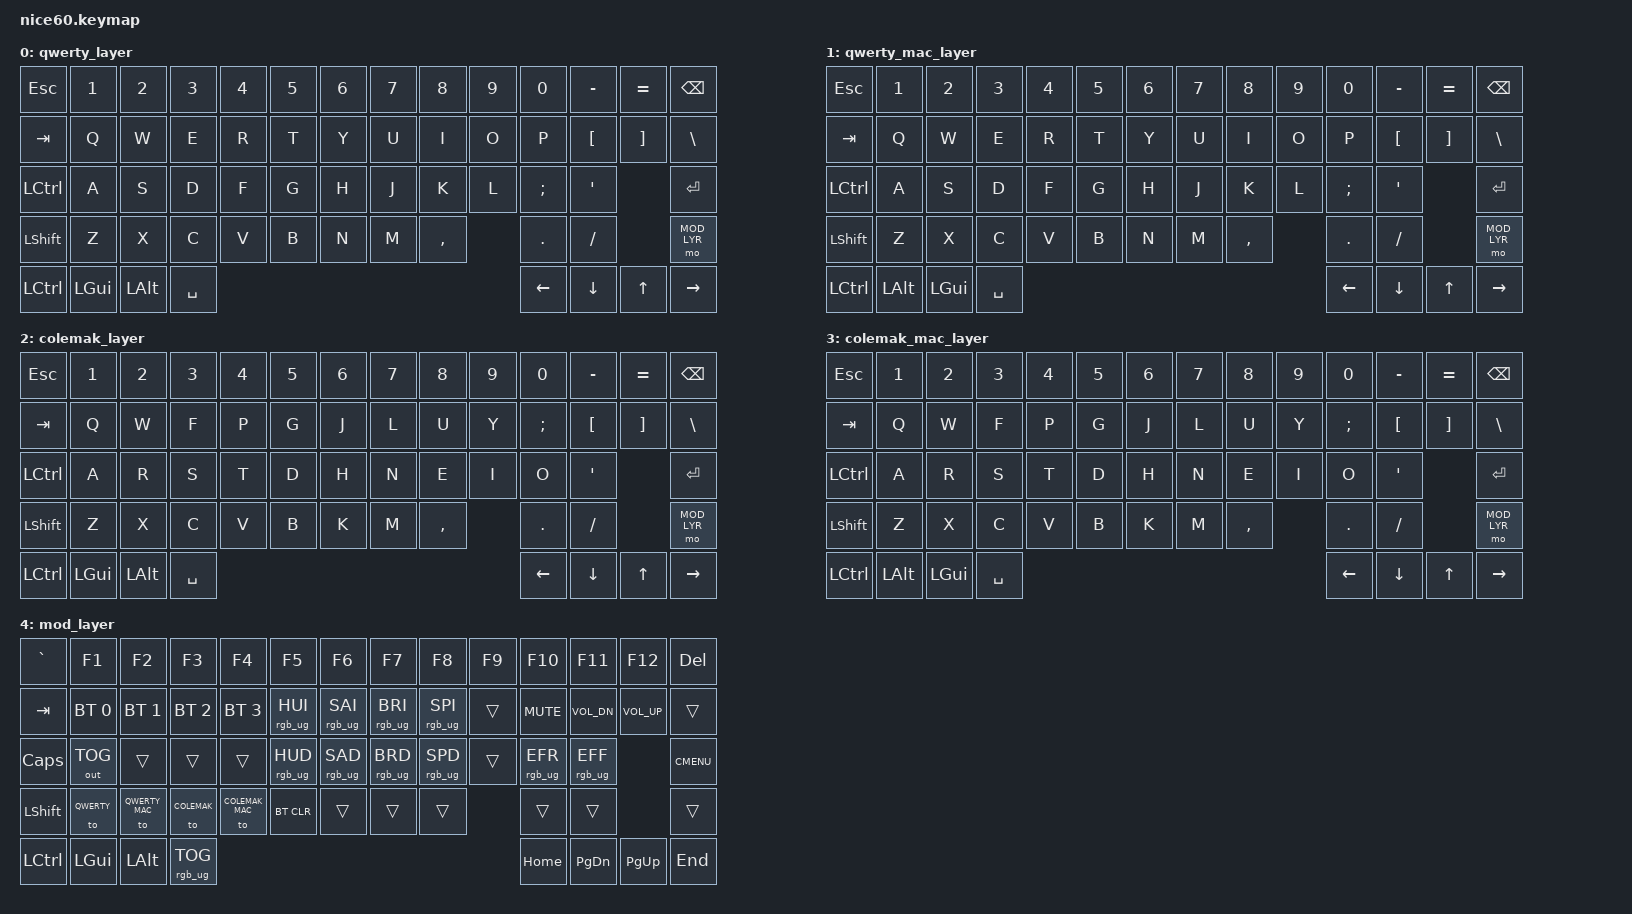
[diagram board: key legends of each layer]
/*
 * Copyright (c) 2021 Nick Winans
 *
 * SPDX-License-Identifier: MIT
 */

#include <behaviors.dtsi>
#include <dt-bindings/zmk/keys.h>
#include <dt-bindings/zmk/rgb.h>
#include <dt-bindings/zmk/bt.h>
#include <dt-bindings/zmk/outputs.h>
#include <dt-bindings/zmk/reset.h>
#include <dt-bindings/zmk/ext_power.h>

#define QWERTY 0
#define QWERTY_MAC 1
#define COLEMAK 2
#define COLEMAK_MAC 3
#define MOD_LYR 4

#define NONE 0

/ {
	keymap {
		compatible = "zmk,keymap";

//		default_layer {
// ------------------------------------------------------------------------------------------
// | ESC |  1  |  2  |  3  |  4  |  5  |  6  |  7  |  8  |  9  |  0  |  -  |  =  |   BKSP   |
// | TAB  |  Q  |  W  |  E  |  R  |  T  |  Y  |  U  |  I  |  O  |  P  |  [  |  ]  |   "|"   |
// | CAPS  |  A  |  S  |  D  |  F  |  G  |  H  |  J  |  K  |  L  |  ;  |  '  |     ENTER    |
// |  SHIFT  |  Z  |  X  |  C  |  V  |  B  |  N  |  M  |  ,  |  .  |  /  |      SHIFT       |
// |  CTL  |  WIN  |  ALT  |            SPACE              |  ALT  |  WIN  |  MO(1) |  CTL  |
// ------------------------------------------------------------------------------------------
//			bindings = <
//	&gresc  &kp N1 &kp N2 &kp N3 &kp N4 &kp N5 &kp N6 &kp N7 &kp N8 &kp N9 &kp N0 &kp MINUS &kp EQUAL  &kp BSPC
//	&kp TAB  &kp Q  &kp W  &kp E  &kp R  &kp T  &kp Y  &kp U  &kp I  &kp O  &kp P  &kp LBKT  &kp RBKT  &kp BSLH
//	&kp CLCK  &kp A  &kp S  &kp D  &kp F  &kp G  &kp H  &kp J  &kp K  &kp L  &kp SEMI &kp SQT           &kp RET
//	&kp LSHFT   &kp Z  &kp X  &kp C  &kp V  &kp B  &kp N  &kp M  &kp COMMA &kp DOT &kp FSLH           &kp RSHFT
//	&kp LCTRL &kp LGUI &kp LALT             &kp SPACE                     &kp RALT  &kp RGUI  &mo 2   &kp RCTRL
//			>;
//		};

//		rgb_layer {
// ------------------------------------------------------------------------------------------------
// | BT CLR | F1  | F2  | F3  | F4  | F5  | F6  | F7  | F8  | F9  | F10  | F11 | F12 | EFFECT REV |
// |  BT 1   |   |     |   | HUEUP | SATUP | BRIUP | SPDUP |   |     |    |     |     |           |
// |   BT 2   |    |      |    | HUEDN | SATDN | BRIDN | SPDDN |   |     |   |     |  EFFECT FORW |
// |    BT 3     | QWERTY | COLEMAK | MAC_CMK |     |     |     |     |     |     |     |            |
// |   BT 4  |      |      |             TOG RGB                | PRT SCR |       |       |  DEL  |
// ------------------------------------------------------------------------------------------------
//			bindings = <
//	&bt BT_CLR    &kp F1    &kp F2    &kp F3  &kp F4           &kp F5          &kp F6          &kp F7           &kp F8    &kp F9   &kp F10  &kp F11 &kp F12  &rgb_ug RGB_EFR
//	&bt BT_SEL 0  &trans    &trans    &trans  &rgb_ug RGB_HUI  &rgb_ug RGB_SAI &rgb_ug RGB_BRI &rgb_ug RGB_SPI  &trans    &trans   &trans   &trans  &trans          &trans
//	&bt BT_SEL 1  &trans    &trans    &trans  &rgb_ug RGB_HUD  &rgb_ug RGB_SAD &rgb_ug RGB_BRD &rgb_ug RGB_SPD  &trans    &trans   &trans   &trans        &rgb_ug RGB_EFF
//	&bt BT_SEL 2  &trans    &trans    &trans  &trans           &trans          &trans          &trans           &trans    &trans   &trans                          &trans
//	&bt BT_SEL 3  &trans    &trans                             &rgb_ug RGB_TOG                                  &kp PSCRN &trans   &trans               &kp DEL
//			>;
//		};
//	};

		qwerty_layer {
// ------------------------------------------------------------------------------------------
// | ESC |  1  |  2  |  3  |  4  |  5  |  6  |  7  |  8  |  9  |  0  |  -  |  =  |   BKSP   |
// | TAB  |  Q  |  W  |  E  |  R  |  T  |  Y  |  U  |  I  |  O  |  P  |  [  |  ]  |   "|"   |
// | CTRL  |  A  |  S  |  D  |  F  |  G  |  H  |  J  |  K  |  L  |  ;  |  '  |     ENTER    |
// |  SHIFT  |  Z  |  X  |  C  |  V  |  B  |  N  |  M  |  ,  |  .  |  /  |        FN        |
// |  CTL  |  WIN  |  ALT  |             SPACE              |  LT   |  DN   |  UP   |  RT   |
// ------------------------------------------------------------------------------------------
			bindings = <
	&kp ESC  &kp N1 &kp N2 &kp N3 &kp N4 &kp N5 &kp N6 &kp N7 &kp N8 &kp N9 &kp N0 &kp MINUS &kp EQUAL  &kp BSPC
	&kp TAB  &kp Q  &kp W  &kp E  &kp R  &kp T  &kp Y  &kp U  &kp I  &kp O  &kp P  &kp LBKT  &kp RBKT  &kp BSLH
	&kp LCTRL  &kp A  &kp S  &kp D  &kp F  &kp G  &kp H  &kp J  &kp K  &kp L  &kp SEMI &kp SQT           &kp RET
	&kp LSHFT   &kp Z  &kp X  &kp C  &kp V  &kp B  &kp N  &kp M  &kp COMMA &kp DOT &kp FSLH           &mo MOD_LYR
	&kp LCTRL &kp LGUI &kp LALT             &kp SPACE                     &kp LEFT  &kp DOWN  &kp UP  &kp RIGHT
			>;
		};

		qwerty_mac_layer {
// ------------------------------------------------------------------------------------------
// | ESC |  1  |  2  |  3  |  4  |  5  |  6  |  7  |  8  |  9  |  0  |  -  |  =  |   BKSP   |
// | TAB  |  Q  |  W  |  E  |  R  |  T  |  Y  |  U  |  I  |  O  |  P  |  [  |  ]  |   "|"   |
// | CTRL  |  A  |  S  |  D  |  F  |  G  |  H  |  J  |  K  |  L  |  ;  |  '  |     ENTER    |
// |  SHIFT  |  Z  |  X  |  C  |  V  |  B  |  N  |  M  |  ,  |  .  |  /  |        FN        |
// |  CTL  |  WIN  |  ALT  |             SPACE              |  LT   |  DN   |  UP   |  RT   |
// ------------------------------------------------------------------------------------------
			bindings = <
	&kp ESC  &kp N1 &kp N2 &kp N3 &kp N4 &kp N5 &kp N6 &kp N7 &kp N8 &kp N9 &kp N0 &kp MINUS &kp EQUAL  &kp BSPC
	&kp TAB  &kp Q  &kp W  &kp E  &kp R  &kp T  &kp Y  &kp U  &kp I  &kp O  &kp P  &kp LBKT  &kp RBKT  &kp BSLH
	&kp LCTRL  &kp A  &kp S  &kp D  &kp F  &kp G  &kp H  &kp J  &kp K  &kp L  &kp SEMI &kp SQT           &kp RET
	&kp LSHFT   &kp Z  &kp X  &kp C  &kp V  &kp B  &kp N  &kp M  &kp COMMA &kp DOT &kp FSLH           &mo MOD_LYR
	&kp LCTRL &kp LALT &kp LGUI             &kp SPACE                     &kp LEFT  &kp DOWN  &kp UP  &kp RIGHT
			>;
		};

		colemak_layer {
// ------------------------------------------------------------------------------------------
// | ESC |  1  |  2  |  3  |  4  |  5  |  6  |  7  |  8  |  9  |  0  |  -  |  =  |   BKSP   |
// | TAB  |  Q  |  W  |  F  |  P  |  G  |  J  |  L  |  U  |  Y  |  ;  |  [  |  ]  |   "|"   |
// | CTRL  |  A  |  R  |  S  |  T  |  D  |  H  |  N  |  E  |  I  |  O  |  '  |     ENTER    |
// |  SHIFT  |  Z  |  X  |  C  |  V  |  B  |  K  |  M  |  ,  |  .  |  /  |      MO(1)       |
// |  MO(2)  |  WIN  |  ALT  |             SPACE              |  LT   |  DN   |  UP   |  RT   |
// ------------------------------------------------------------------------------------------
			bindings = <
	&kp ESC  	&kp N1 &kp N2 &kp N3 &kp N4 &kp N5 &kp N6 &kp N7 &kp N8 &kp N9 &kp N0    &kp MINUS &kp EQUAL  &kp BSPC
	&kp TAB  	&kp Q  &kp W  &kp F  &kp P  &kp G  &kp J  &kp L  &kp U  &kp Y  &kp SEMI  &kp LBKT  &kp RBKT   &kp BSLH
	&kp LCTRL  	&kp A  &kp R  &kp S  &kp T  &kp D  &kp H  &kp N  &kp E  &kp I  &kp O     &kp SQT              &kp RET
	&kp LSHFT   &kp Z  &kp X  &kp C  &kp V  &kp B  &kp K  &kp M  &kp COMMA     &kp DOT   &kp FSLH             &mo MOD_LYR
	&kp LCTRL   &kp LGUI      &kp LALT             &kp SPACE                 &kp LEFT  &kp DOWN  &kp UP  &kp RIGHT
			>;
		};

		colemak_mac_layer {
// ------------------------------------------------------------------------------------------
// | ESC |  1  |  2  |  3  |  4  |  5  |  6  |  7  |  8  |  9  |  0  |  -  |  =  |   BKSP   |
// | TAB  |  Q  |  W  |  F  |  P  |  G  |  J  |  L  |  U  |  Y  |  ;  |  [  |  ]  |   "|"   |
// | CTRL  |  A  |  R  |  S  |  T  |  D  |  H  |  N  |  E  |  I  |  O  |  '  |     ENTER    |
// |  SHIFT  |  Z  |  X  |  C  |  V  |  B  |  K  |  M  |  ,  |  .  |  /  |      MO(1)       |
// |  MO(2)  |  WIN  |  ALT  |             SPACE              |  LT   |  DN   |  UP   |  RT   |
// ------------------------------------------------------------------------------------------
			bindings = <
	&kp ESC  	&kp N1 &kp N2 &kp N3 &kp N4 &kp N5 &kp N6 &kp N7 &kp N8 &kp N9 &kp N0    &kp MINUS &kp EQUAL  &kp BSPC
	&kp TAB  	&kp Q  &kp W  &kp F  &kp P  &kp G  &kp J  &kp L  &kp U  &kp Y  &kp SEMI  &kp LBKT  &kp RBKT   &kp BSLH
	&kp LCTRL  	&kp A  &kp R  &kp S  &kp T  &kp D  &kp H  &kp N  &kp E  &kp I  &kp O     &kp SQT              &kp RET
	&kp LSHFT   &kp Z  &kp X  &kp C  &kp V  &kp B  &kp K  &kp M  &kp COMMA     &kp DOT   &kp FSLH             &mo MOD_LYR
	&kp LCTRL   &kp LALT      &kp LGUI             &kp SPACE                 &kp LEFT  &kp DOWN  &kp UP  &kp RIGHT
			>;
		};


		mod_layer {
// ------------------------------------------------------------------------------------------------
// |   "`"   | F1  | F2  | F3  | F4  | F5  | F6  | F7  | F8  | F9  | F10  | F11  | F12  |  DEL    |
// |  TAB  | BT1 | BT2 | BT3 | BT4 | HUEUP | SATUP | BRIUP | SPDUP |  | MUTE | V- | V+ |   |
// |  CLCK  | TOG OUT | | | | HUEDN | SATDN | BRIDN | SPDDN | | STY_BWD | STY_FWD | CONTEXT_MENU  |
// |  SHIFT  | qwerty | colemak | qw_mac | cm_mac |  BT CLR   |    |    |    |    |    |          |
// |  CTL  |  WIN  |  ALT  |             TOG RGB              |  HOME  |  PGDN  |  PGUP  |  END   |
// ------------------------------------------------------------------------------------------------
			bindings = <
	&kp GRAVE     &kp F1       &kp F2         &kp F3         &kp F4          &kp F5          &kp F6          &kp F7          &kp F8          &kp F9   &kp F10         &kp F11          &kp F12         &kp DEL
	&kp TAB     &bt BT_SEL 0 &bt BT_SEL 1   &bt BT_SEL 2   &bt BT_SEL 3    &rgb_ug RGB_HUI &rgb_ug RGB_SAI &rgb_ug RGB_BRI &rgb_ug RGB_SPI &trans   &kp C_MUTE      &kp C_VOL_DN     &kp C_VOL_UP    &trans
	&kp CLCK    &out OUT_TOG &trans         &trans         &trans          &rgb_ug RGB_HUD &rgb_ug RGB_SAD &rgb_ug RGB_BRD &rgb_ug RGB_SPD &trans   &rgb_ug RGB_EFR &rgb_ug RGB_EFF  &kp K_CMENU
	&kp LSHFT   &to QWERTY   &to QWERTY_MAC &to COLEMAK    &to COLEMAK_MAC &bt BT_CLR      &trans          &trans          &trans          &trans   &trans          &trans
	&kp LCTRL   &kp LGUI     &kp LALT                 &rgb_ug RGB_TOG              &kp HOME      &kp PG_DN      &kp PG_UP       &kp END
			>;
		};
	};
};
